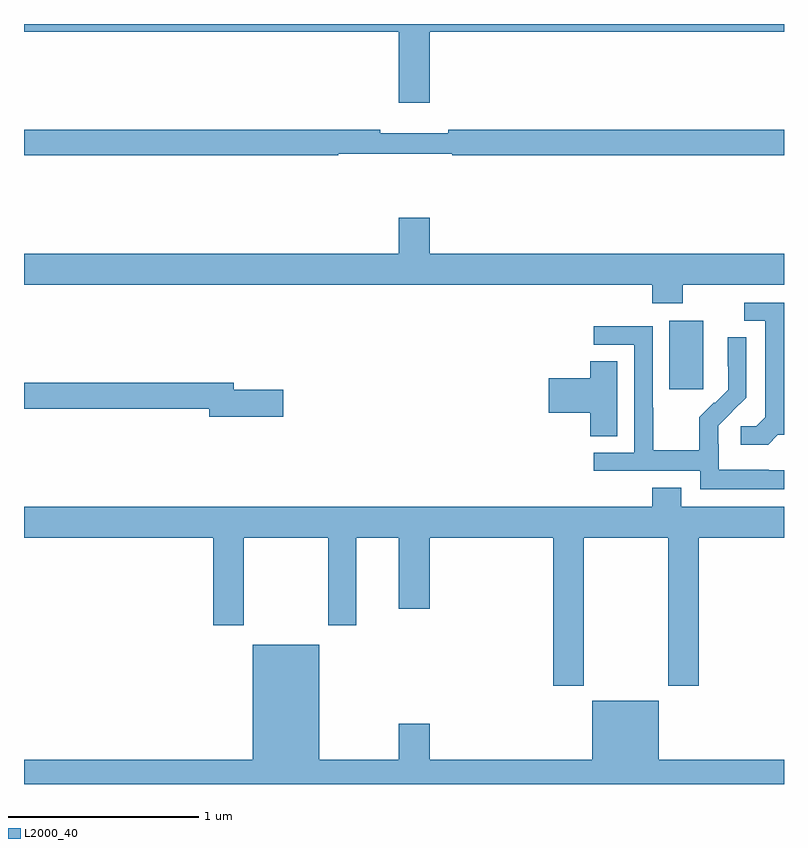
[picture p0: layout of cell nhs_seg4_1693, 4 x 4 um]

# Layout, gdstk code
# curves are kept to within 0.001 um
import gdstk
lib = gdstk.Library(unit=1e-6, precision=1e-09)
def R(c, l, rs):  # rectangles x0, y0, x1, y1
    for r in rs: c.add(gdstk.rectangle(r[:2], r[2:], *l))
def P(c, l, *ps):  # polygons
    for p in ps: c.add(gdstk.Polygon(p, *l))
L2000_40 = (2000, 40)

nhs_seg4_1693 = lib.new_cell('nhs_seg4_1693')
R(nhs_seg4_1693, L2000_40, [(202.397,754.977,202.576,755.338)])
P(nhs_seg4_1693, L2000_40, [(199,756.86),(200.972,756.86),(200.972,756.486),(201.136,756.486),(201.136,756.86),(203,756.86),(203,756.9),(199,756.9)],
  [(200.655,756.216),(201.255,756.216),(201.255,756.208),(203,756.208),(203,756.344),(201.232,756.344),(201.232,756.325),(200.876,756.325),(200.876,756.344),(199,756.344),(199,756.208),(200.655,756.208)],
  [(202.467,755.528),(203,755.528),(203,755.692),(201.136,755.692),(201.136,755.881),(200.972,755.881),(200.972,755.692),(199,755.692),(199,755.528),(202.307,755.528),(202.307,755.429),(202.467,755.429)],
  [(202.968,754.737),(203,754.737),(203,755.433),(202.791,755.433),(202.791,755.337),(202.901,755.337),(202.901,754.829),(202.854,754.782),(202.773,754.782),(202.773,754.685),(202.916,754.685)],
  [(203,754.551),(202.919,754.551),(202.919,754.555),(202.656,754.555),(202.656,754.689),(202.654,754.689),(202.654,754.786),(202.8,754.934),(202.8,755.252),(202.704,755.252),(202.704,755.098),(202.706,755.098),(202.706,754.976),(202.635,754.905),(202.632,754.908),(202.555,754.831),(202.555,754.657),(202.311,754.657),(202.311,754.88),(202.308,754.88),(202.308,755.31),(201.999,755.31),(201.999,755.211),(202.212,755.211),(202.212,754.644),(201.999,754.644),(201.999,754.548),(202.56,754.548),(202.56,754.451),(203,754.451)],
  [(202.123,755.126),(201.98,755.126),(201.98,755.036),(201.762,755.036),(201.762,754.853),(201.98,754.853),(201.98,754.729),(202.123,754.729)],
  [(200.365,754.976),(200.104,754.976),(200.104,755.012),(199,755.012),(199,754.876),(199.976,754.876),(199.976,754.834),(200.365,754.834)],
  [(201.945,754.196),(202.39,754.196),(202.39,753.417),(202.55,753.417),(202.55,754.196),(203,754.196),(203,754.36),(202.459,754.36),(202.459,754.459),(202.307,754.459),(202.307,754.36),(199,754.36),(199,754.196),(199.997,754.196),(199.997,753.735),(200.157,753.735),(200.157,754.196),(200.602,754.196),(200.602,753.735),(200.749,753.735),(200.749,754.196),(200.972,754.196),(200.972,753.822),(201.136,753.822),(201.136,754.196),(201.785,754.196),(201.785,753.417),(201.945,753.417)],
  [(203,753.028),(202.342,753.028),(202.342,753.337),(201.992,753.337),(201.992,753.028),(201.136,753.028),(201.136,753.217),(200.972,753.217),(200.972,753.028),(200.554,753.028),(200.554,753.634),(200.204,753.634),(200.204,753.028),(199,753.028),(199,752.9),(203,752.9)])

lib.write_gds('nhs_seg4_1693.gds')
